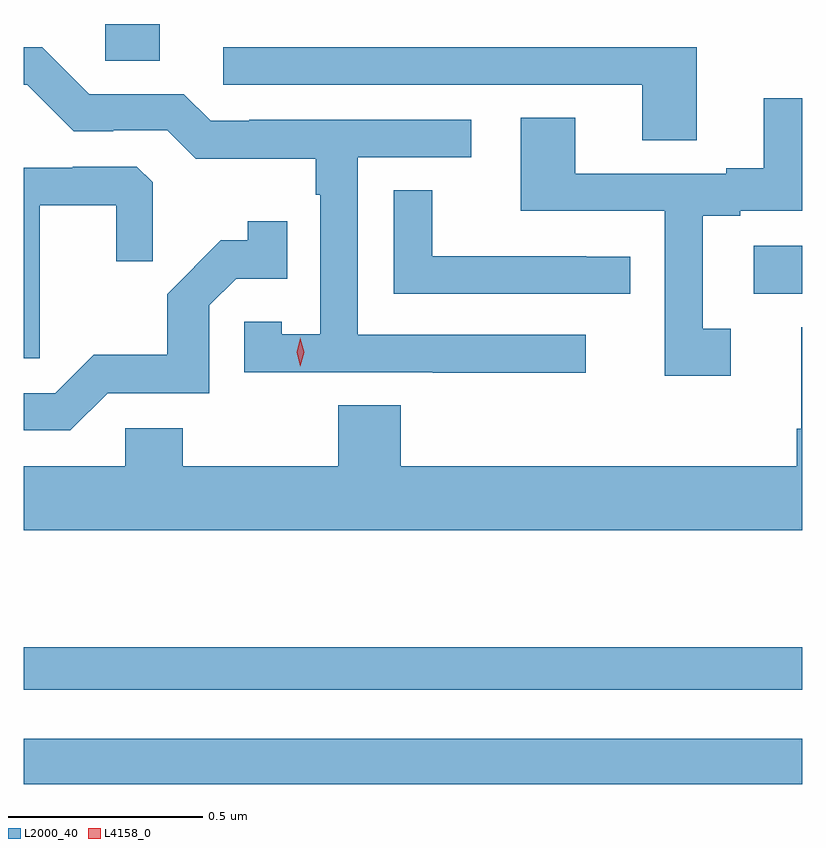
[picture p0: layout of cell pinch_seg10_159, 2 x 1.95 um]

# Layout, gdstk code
import gdstk
lib = gdstk.Library(unit=1e-6, precision=1e-09)
def R(c, l, rs):  # rectangles x0, y0, x1, y1
    for r in rs: c.add(gdstk.rectangle(r[:2], r[2:], *l))
def P(c, l, *ps):  # polygons
    for p in ps: c.add(gdstk.Polygon(p, *l))
L2000_40 = (2000, 40)
L4158_0 = (4158, 0)

pinch_seg10_159 = lib.new_cell('pinch_seg10_159')
R(pinch_seg10_159, L2000_40, [(744.054,1274.356,746.054,1274.472), (744.054,1274.598,746.054,1274.707), (745.929,1275.615,746.054,1275.739), (744.264,1276.213,744.403,1276.308)])
P(pinch_seg10_159, L2000_40, [(745.783,1276.248),(744.567,1276.248),(744.567,1276.152),(745.643,1276.152),(745.643,1276.009),(745.783,1276.009)],
  [(745.498,1275.51),(744.912,1275.51),(744.912,1275.966),(745.204,1275.966),(745.204,1276.062),(744.634,1276.062),(744.634,1276.059),(744.534,1276.059),(744.465,1276.128),(744.222,1276.128),(744.102,1276.248),(744.054,1276.248),(744.054,1276.152),(744.063,1276.152),(744.183,1276.032),(744.284,1276.032),(744.284,1276.035),(744.423,1276.035),(744.496,1275.962),(744.804,1275.962),(744.804,1275.869),(744.816,1275.869),(744.816,1275.511),(744.717,1275.511),(744.717,1275.543),(744.621,1275.543),(744.621,1275.414),(745.105,1275.414),(745.105,1275.412),(745.498,1275.412)],
  [(745.87,1275.525),(745.798,1275.525),(745.798,1275.816),(745.894,1275.816),(745.894,1275.828),(746.054,1275.828),(746.054,1276.117),(745.955,1276.117),(745.955,1275.937),(745.859,1275.937),(745.859,1275.924),(745.471,1275.924),(745.471,1276.067),(745.331,1276.067),(745.331,1275.828),(745.701,1275.828),(745.701,1275.405),(745.87,1275.405)],
  [(744.095,1275.842),(744.292,1275.842),(744.292,1275.699),(744.386,1275.699),(744.386,1275.901),(744.345,1275.942),(744.18,1275.942),(744.18,1275.939),(744.054,1275.939),(744.054,1275.45),(744.095,1275.45)],
  [(745.612,1275.71),(745.499,1275.71),(745.499,1275.711),(745.104,1275.711),(745.104,1275.881),(745.005,1275.881),(745.005,1275.615),(745.612,1275.615)],
  [(744.27,1275.36),(744.531,1275.36),(744.531,1275.585),(744.6,1275.654),(744.731,1275.654),(744.731,1275.802),(744.63,1275.802),(744.63,1275.752),(744.56,1275.752),(744.423,1275.614),(744.423,1275.459),(744.234,1275.459),(744.135,1275.36),(744.054,1275.36),(744.054,1275.264),(744.174,1275.264)],
  [(746.054,1275.529),(746.051,1275.529),(746.051,1275.268),(746.039,1275.268),(746.039,1275.172),(745.022,1275.172),(745.022,1275.329),(744.862,1275.329),(744.862,1275.172),(744.462,1275.172),(744.462,1275.27),(744.315,1275.27),(744.315,1275.172),(744.054,1275.172),(744.054,1275.008),(746.054,1275.008)])
P(pinch_seg10_159, L4158_0, [(744.764,1275.429),(744.755,1275.465),(744.764,1275.501),(744.765,1275.502),(744.765,1275.501),(744.775,1275.465),(744.765,1275.429),(744.765,1275.429)])

lib.write_gds('pinch_seg10_159.gds')
